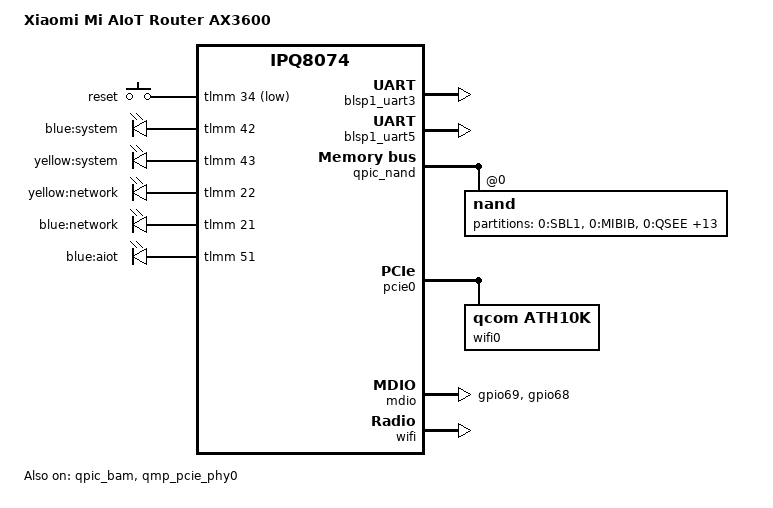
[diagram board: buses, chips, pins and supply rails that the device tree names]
// SPDX-License-Identifier: GPL-2.0-or-later OR MIT
/* Copyright (c) 2020, Robert Marko <robert.marko@sartura.hr> */

/dts-v1/;
#include "ipq8074.dtsi"
#include <dt-bindings/gpio/gpio.h>
#include <dt-bindings/input/input.h>

/ {
	#address-cells = <2>;
	#size-cells = <2>;
	model = "Xiaomi Mi AIoT Router AX3600";
	compatible = "xiaomi,ax3600", "qcom,ipq8074";
	interrupt-parent = <&intc>;

	aliases {
		serial0 = &blsp1_uart5;
		serial1 = &blsp1_uart3;
		led-boot = &led_system_yellow;
		led-failsafe = &led_system_yellow;
		led-running = &led_system_blue;
		led-upgrade = &led_system_yellow;
	};

	chosen {
		stdout-path = "serial0:115200n8";
		bootargs-append = " swiotlb=1";
	};

	keys {
		compatible = "gpio-keys";
		pinctrl-0 = <&button_pins>;
		pinctrl-names = "default";

		reset {
			label = "reset";
			gpios = <&tlmm 34 GPIO_ACTIVE_LOW>;
			linux,code = <KEY_RESTART>;
		};
	};

	leds {
		compatible = "gpio-leds";
		pinctrl-0 = <&led_pins>;
		pinctrl-names = "default";

		led_system_blue: system-blue {
			label = "blue:system";
			gpios = <&tlmm 42 GPIO_ACTIVE_HIGH>;
		};

		led_system_yellow: system-yellow {
			label = "yellow:system";
			gpios = <&tlmm 43 GPIO_ACTIVE_HIGH>;
		};

		network-yellow {
			label = "yellow:network";
			gpios = <&tlmm 22 GPIO_ACTIVE_HIGH>;
		};

		network-blue {
			label = "blue:network";
			gpios = <&tlmm 21 GPIO_ACTIVE_HIGH>;
		};

		aiot {
			label = "blue:aiot";
			gpios = <&tlmm 51 GPIO_ACTIVE_HIGH>;
		};
	};
};

&blsp1_uart3 {
	status = "okay";
};

&blsp1_uart5 {
	status = "okay";
};

&qpic_bam {
	status = "okay";
};

&qpic_nand {
	status = "okay";

	nand@0 {
		reg = <0>;
		nand-ecc-strength = <4>;
		nand-ecc-step-size = <512>;
		nand-bus-width = <8>;

		partitions {
			compatible = "fixed-partitions";
			#address-cells = <1>;
			#size-cells = <1>;

			partition@0 {
				label = "0:SBL1";
				reg = <0x00000000 0x100000>;
				read-only;
			};

			partition@100000 {
				label = "0:MIBIB";
				reg = <0x00100000 0x100000>;
				read-only;
			};

			partition@200000 {
				label = "0:QSEE";
				reg = <0x00200000 0x300000>;
				read-only;
			};

			partition@500000 {
				label = "0:DEVCFG";
				reg = <0x00500000 0x80000>;
				read-only;
			};

			partition@580000 {
				label = "0:RPM";
				reg = <0x00580000 0x80000>;
				read-only;
			};

			partition@600000 {
				label = "0:CDT";
				reg = <0x00600000 0x80000>;
				read-only;
			};

			partition@680000 {
				label = "0:APPSBLENV";
				reg = <0x00680000 0x80000>;
			};

			partition@700000 {
				label = "0:APPSBL";
				reg = <0x00700000 0x100000>;
				read-only;
			};

			partition@800000 {
				label = "0:ART";
				reg = <0x00800000 0x80000>;
				read-only;
			};

			partition@880000 {
				label = "bdata";
				reg = <0x00880000 0x80000>;
				read-only;
			};

			partition@900000 {
				label = "crash";
				reg = <0x00900000 0x80000>;
				read-only;
			};

			partition@980000 {
				label = "crash_syslog";
				reg = <0x00980000 0x80000>;
				read-only;
			};

			partition@a00000 {
				label = "rootfs";
				reg = <0x00a00000 0x23c0000>;
			};

			partition@2dc0000 {
				label = "rootfs_1";
				reg = <0x02dc0000 0x23c0000>;
			};

			partition@5180000 {
				label = "overlay";
				reg = <0x05180000 0x1ec0000>;
			};

			partition@7040000 {
				label = "rsvd0";
				reg = <0x07040000 0x80000>;
			};
		};
	};
};

&tlmm {
	button_pins: button-pins {
		pins = "gpio34";
		function = "gpio";
		bias-pull-up;
		drive-strength = <8>;
	};

	led_pins: led-pins {
		pins = "gpio21", "gpio22", "gpio42", "gpio43", "gpio51";
		function = "gpio";
		bias-pull-down;
		drive-strength = <8>;
	};

	mdio_pins: mdio_pinmux {
		pinmux_1 {
			pins = "gpio69";
			function = "mdio";
		};

		pinmux_2 {
			pins = "gpio68";
			function = "mdc";
		};

		pinconf {
			pins = "gpio69", "gpio68";
			bias-pull-up;
		};
	};
};

&qmp_pcie_phy0 {
	status = "okay";
};

&pcie0 {
	status = "okay";

	perst-gpio = <&tlmm 52 GPIO_ACTIVE_HIGH>;

	bridge@0,0 {
		reg = <0x00000000 0 0 0 0>;
		#address-cells = <3>;
		#size-cells = <2>;
		ranges;

		wifi0: wifi@1,0 {
			status = "okay";

			compatible = "qcom,ath10k";
			reg = <0x00010000 0 0 0 0>;

			qcom,ath10k-calibration-variant = "Xiaomi-AX3600";
		};
	};
};

&mdio {
	status = "okay";

	pinctrl-0 = <&mdio_pins>;
	pinctrl-names = "default";
};

&wifi {
	status = "okay";
};
